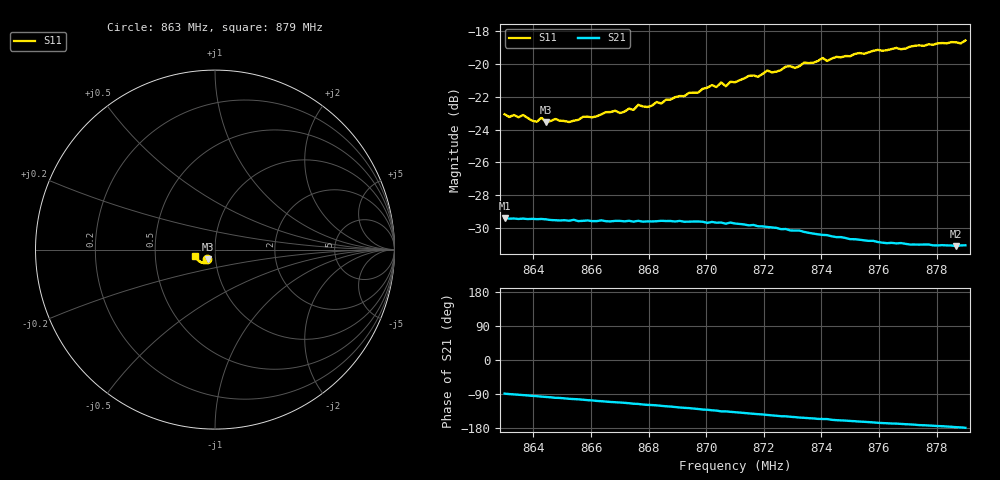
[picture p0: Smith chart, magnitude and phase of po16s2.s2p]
# HZ S RI R 50
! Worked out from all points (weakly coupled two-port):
!   101 points, 863 MHz to 879 MHz, reference 50 ohm
!   highest |S21| = -29.38 dB at 863 MHz (marker M1); lowest = -31.1 dB at 878.68 MHz (marker M2)
!   lowest |S11| = -23.6 dB at 864.44 MHz (marker M3), VSWR 1.14, Z = 46 - j5 ohm
!   |S11| at or under -10 dB: start of sweep to end of sweep
!   S12 and S22 are empty: the file has one direction only
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8.63e8  -0.0441 -0.0546  0.000737 -0.034  0 0  0 0
8.6364e8  -0.0423 -0.0556  -0.00153 -0.0338  0 0  0 0
8.6412e8  -0.0389 -0.0541  -0.00319 -0.0335  0 0  0 0
8.6428e8  -0.0384 -0.0568  -0.0039 -0.0335  0 0  0 0
8.6444e8  -0.0386 -0.054  -0.00441 -0.0333  0 0  0 0
8.6476e8  -0.0387 -0.0558  -0.00569 -0.0329  0 0  0 0
8.6524e8  -0.0353 -0.0563  -0.00711 -0.0325  0 0  0 0
8.6572e8  -0.0351 -0.0594  -0.00852 -0.0322  0 0  0 0
8.6844e8  -0.0373 -0.0658  -0.0172 -0.0285  0 0  0 0
8.702e8  -0.0454 -0.0732  -0.0224 -0.0243  0 0  0 0
8.7036e8  -0.0454 -0.0719  -0.0226 -0.0238  0 0  0 0
8.7052e8  -0.049 -0.0728  -0.0235 -0.023  0 0  0 0
8.7068e8  -0.0464 -0.0717  -0.0233 -0.0228  0 0  0 0
8.71e8  -0.0496 -0.0725  -0.0242 -0.022  0 0  0 0
8.718e8  -0.0533 -0.0741  -0.0256 -0.0193  0 0  0 0
8.7212e8  -0.06 -0.0742  -0.0261 -0.0183  0 0  0 0
8.7372e8  -0.0681 -0.0742  -0.0274 -0.0133  0 0  0 0
8.7404e8  -0.0757 -0.0715  -0.0275 -0.0124  0 0  0 0
8.742e8  -0.0722 -0.0721  -0.0275 -0.0123  0 0  0 0
8.7644e8  -0.0929 -0.0605  -0.0279 -0.00611  0 0  0 0
8.7868e8  -0.1088 -0.0409  -0.0278 -0.00133  0 0  0 0
8.79e8  -0.1116 -0.0376  -0.028 -0.000529  0 0  0 0
